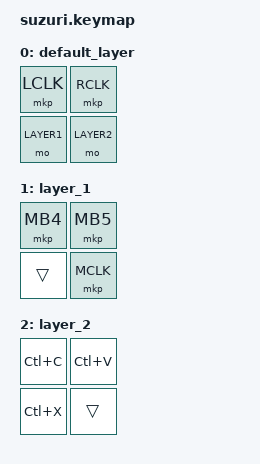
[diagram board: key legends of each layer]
#include <behaviors.dtsi>
#include <dt-bindings/zmk/keys.h>
#include <dt-bindings/zmk/bt.h>
#include <dt-bindings/zmk/mouse.h>

#define DEFAULT 0
#define LAYER1  1
#define LAYER2  2
// test2---
// test----
/ {
    keymap {
        compatible = "zmk,keymap";

        default_layer {
            bindings = <
                &mkp LCLK    &mkp RCLK
                &mo LAYER1   &mo LAYER2
            >;
        };

        layer_1 {
            bindings = <
                &mkp MB4     &mkp MB5
                &trans       &mkp MCLK
            >;
        };

        layer_2 {
            bindings = <
                &kp LC(C)    &kp LC(V)
                &kp LC(X)    &trans
            >;
        };
    };
};
